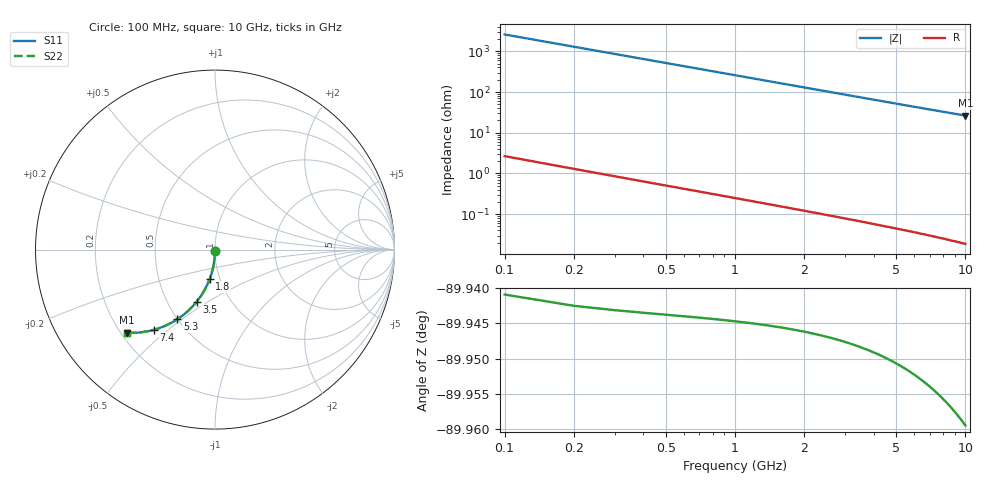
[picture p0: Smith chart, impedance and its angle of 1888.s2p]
# Hz S RI R 50.00
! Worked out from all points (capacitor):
!   100 points, 100 MHz to 10 GHz, reference 50 ohm
!   read as one part in shunt: C = 616 fF near 100 MHz
!   lowest |Z| = 26.4 ohm at 10 GHz (marker M1)
!   S11 on the Smith chart (normalised r, x): 100 MHz: 1.00, -0.02; 1.8 GHz: 0.90, -0.30; 3.5 GHz: 0.69, -0.45; 5.3 GHz: 0.50, -0.48; 7.4 GHz: 0.34, -0.45; 10 GHz: 0.23, -0.38
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1e8  0.000223 -0.00931  0.9996 -0.01  0.9996 -0.01  0.000223 -0.00931
2e8  -6.45e-05 -0.0186  0.9993 -0.0201  0.9993 -0.0201  -6.45e-05 -0.0186
3e8  -0.000539 -0.0279  0.9988 -0.0301  0.9988 -0.0301  -0.000539 -0.0279
4e8  -0.0012 -0.0372  0.9981 -0.0401  0.9981 -0.0401  -0.0012 -0.0372
5e8  -0.00205 -0.0465  0.9973 -0.0501  0.9973 -0.0501  -0.00205 -0.0465
6e8  -0.00308 -0.0557  0.9962 -0.06  0.9962 -0.06  -0.00308 -0.0557
8e8  -0.00569 -0.074  0.9936 -0.0798  0.9936 -0.0798  -0.00569 -0.074
1.1e9  -0.011 -0.1013  0.9883 -0.1092  0.9883 -0.1092  -0.011 -0.1013
1.4e9  -0.0178 -0.128  0.9815 -0.1381  0.9815 -0.1381  -0.0178 -0.128
1.8e9  -0.0292 -0.1626  0.97 -0.1756  0.97 -0.1756  -0.0292 -0.1626
2.1e9  -0.0395 -0.1876  0.9597 -0.2028  0.9597 -0.2028  -0.0395 -0.1876
2.5e9  -0.0552 -0.2196  0.944 -0.2377  0.944 -0.2377  -0.0552 -0.2196
2.9e9  -0.0729 -0.2498  0.9261 -0.2708  0.9261 -0.2708  -0.0729 -0.2498
3.4e9  -0.0977 -0.2848  0.9013 -0.3095  0.9013 -0.3095  -0.0977 -0.2848
3.5e9  -0.103 -0.2914  0.896 -0.3168  0.896 -0.3168  -0.103 -0.2914
4.3e9  -0.1479 -0.3395  0.8509 -0.3707  0.8509 -0.3707  -0.1479 -0.3395
5.1e9  -0.1966 -0.3789  0.802 -0.416  0.802 -0.416  -0.1966 -0.3789
5.3e9  -0.2091 -0.3874  0.7894 -0.426  0.7894 -0.426  -0.2091 -0.3874
6.7e9  -0.2979 -0.4328  0.7002 -0.4817  0.7002 -0.4817  -0.2979 -0.4328
7.4e9  -0.3415 -0.447  0.6562 -0.5011  0.6562 -0.5011  -0.3415 -0.447
8.4e9  -0.4014 -0.4592  0.5959 -0.5207  0.5959 -0.5207  -0.4014 -0.4592
1e10  -0.4888 -0.4626  0.5077 -0.5361  0.5077 -0.5361  -0.4888 -0.4626
